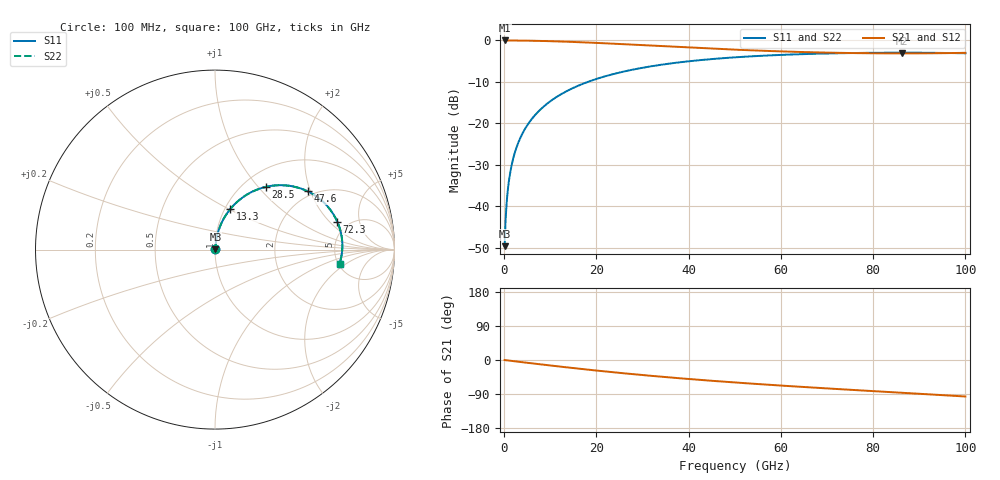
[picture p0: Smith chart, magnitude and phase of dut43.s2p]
! Touchstone file exported from HFSS 2026.1.0
!  File:  C:/ffzhzh/LocalFiles/Ansys_Project_Files/temp_train_RDL_43_1783498183_44152.aedt
!  Generated:  04:10:46 PM Jul  8, 2026
!  Design:  RDL
!  Project:  temp_train_RDL_43_1783498183_44152
! Variables:
!  h_bsmrdl = 2um
!  h_ox = 20um
!  h_rdl = 5um
!  h_sub = 80um
!  h_tmrdl = 2.84um
!  h_tsv = 80um
!  h_via = 3um
!  l_bsmrdl = 300um
!  l_sub = 704.9um
!  l_tmrdl = 304.9um
!  m_sub = 200um
!  pitch = 59.15um
!  r_tsv = 6um
!  s_tmrdl = 10um
!  w_bsmrdl = 18um
!  w_sub = 500um
!  w_tmrdl = 15.69um
!  x_tsv_center1 = 312.745um
!  x_tsv_center2 = 630.745um
!  x_tsv_center3 = 951.335um
!  x_tsv_center4 = 1269.335um
!  x_tsv_center5 = 1589.925um
!  x_tsv_center6 = 1907.925um
# GHz S MA R 50.000000
! Terminal data exported
! Port[1] = TM_RDL1_1_T1
! Port[2] = TM_RDL1_1_T2
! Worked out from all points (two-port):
!   1000 points, 100 MHz to 100 GHz, reference 50 ohm
!   highest |S21| = -0.02 dB at 100 MHz (marker M1); lowest = -3.1 dB at 86.2 GHz (marker M2)
!   |S21| within 3 dB of the highest: start of sweep to 72.97 GHz; 99.37 GHz to end of sweep
!   lowest |S11| = -49.7 dB at 100 MHz (marker M3), VSWR 1.01, Z = 50.3 + j0.2 ohm
!   |S11| at or under -10 dB: start of sweep to 18.21 GHz
!   |S22| runs from -49.7 to -3.0 dB; largest |S21 - S12| = 4e-15
!   S11 on the Smith chart (normalised r, x): 100 MHz: 1.01, +0.00; 13.3 GHz: 1.06, +0.50; 28.5 GHz: 1.25, +1.10; 47.6 GHz: 1.85, +1.92; 72.3 GHz: 4.06, +2.48; 100 GHz: 5.14, -1.56
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0.1  0.003283 37.2  0.9974 -0.2  0.9974 -0.2  0.003283 37.2
! Gamma 0 0 0 0
! Port Impedance 50 0 50 0
0.4  0.008338 70.0  0.9972 -0.6  0.9972 -0.6  0.008338 70.0
0.8  0.01575 77.9  0.9969 -1.2  0.9969 -1.2  0.01575 77.9
1.3  0.0251 80.9  0.9966 -1.9  0.9966 -1.9  0.0251 80.9
1.7  0.0326 81.9  0.9963 -2.5  0.9963 -2.5  0.0326 81.9
2.2  0.04199 82.3  0.9958 -3.2  0.9958 -3.2  0.04199 82.3
3.4  0.0645 81.9  0.9944 -5.0  0.9944 -5.0  0.0645 81.9
5.1  0.09611 80.2  0.9915 -7.5  0.9915 -7.5  0.09611 80.2
7.3  0.1362 77.5  0.9862 -10.7  0.9862 -10.7  0.1362 77.5
10  0.184 73.9  0.9777 -14.5  0.9777 -14.5  0.184 73.9
13.3  0.2396 69.5  0.9647 -19.0  0.9647 -19.0  0.2396 69.5
16.8  0.295 65.0  0.9485 -23.7  0.9485 -23.7  0.295 64.9
22.2  0.3725 58.3  0.9202 -30.6  0.9202 -30.6  0.3725 58.2
28.5  0.4503 51.0  0.8844 -38.0  0.8844 -38.0  0.4503 50.9
33.4  0.5016 45.7  0.8564 -43.4  0.8564 -43.4  0.5016 45.6
47.6  0.6106 32.1  0.7833 -57.2  0.7833 -57.2  0.6106 32.0
50.1  0.6245 30.0  0.7724 -59.4  0.7724 -59.4  0.6246 29.8
66.7  0.6874 16.9  0.7181 -72.6  0.7181 -72.6  0.6874 16.8
72.3  0.6989 12.9  0.7072 -76.7  0.7072 -76.7  0.6989 12.7
83.4  0.7098 5.2  0.6964 -84.5  0.6964 -84.5  0.7098 5.0
86.2  0.7102 3.2  0.6959 -86.5  0.6959 -86.5  0.7103 3.0
100  0.6984 -6.4  0.7071 -96.3  0.7071 -96.3  0.6984 -6.7
